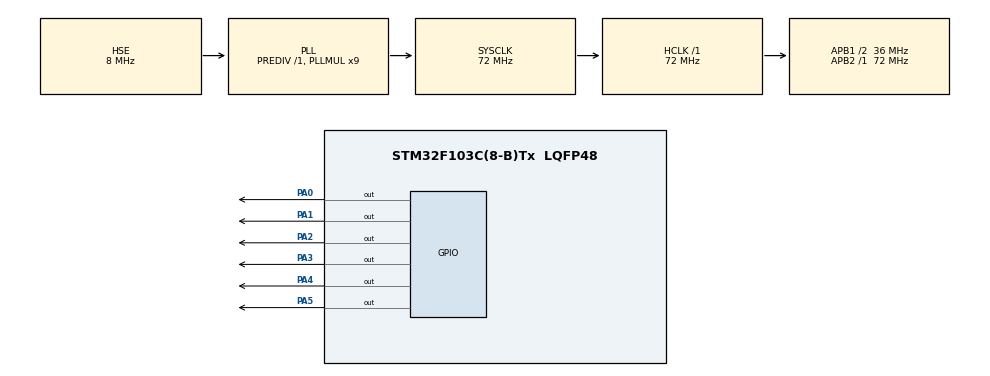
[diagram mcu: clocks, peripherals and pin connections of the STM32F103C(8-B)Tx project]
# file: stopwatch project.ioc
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Mcu.Family=STM32F1
Mcu.Name=STM32F103C(8-B)Tx
Mcu.Package=LQFP48
NVIC.PriorityGroup=NVIC_PRIORITYGROUP_4
PA0-WKUP.Signal=GPIO_Output
PA1.Signal=GPIO_Output
PA13.Mode=Serial_Wire
PA13.Signal=SYS_JTMS-SWDIO
PA14.Mode=Serial_Wire
PA14.Signal=SYS_JTCK-SWCLK
PA2.Signal=GPIO_Output
PA3.Signal=GPIO_Output
PA4.Signal=GPIO_Output
PA5.Signal=GPIO_Output
PD0-OSC_IN.Mode=HSE-External-Oscillator
PD0-OSC_IN.Signal=RCC_OSC_IN
PD1-OSC_OUT.Mode=HSE-External-Oscillator
PD1-OSC_OUT.Signal=RCC_OSC_OUT
ProjectManager.HeapSize=0x200
ProjectManager.StackSize=0x400
ProjectManager.TargetToolchain=STM32CubeIDE
RCC.AHBFreq_Value=72000000
RCC.APB1CLKDivider=RCC_HCLK_DIV2
RCC.APB1Freq_Value=36000000
RCC.APB1TimFreq_Value=72000000
RCC.APB2Freq_Value=72000000
RCC.APB2TimFreq_Value=72000000
RCC.HCLKFreq_Value=72000000
RCC.PLLMUL=RCC_PLL_MUL9
RCC.PLLSourceVirtual=RCC_PLLSOURCE_HSE
RCC.SYSCLKFreq_VALUE=72000000
RCC.SYSCLKSource=RCC_SYSCLKSOURCE_PLLCLK
RCC.USBFreq_Value=72000000
board=custom

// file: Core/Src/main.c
/* USER CODE BEGIN Header */
/**
 ******************************************************************************
 * @file           : main.c
 * @brief          : Main program body
 ******************************************************************************
 * @attention
 *
 * Copyright (c) 2024 STMicroelectronics.
 * All rights reserved.
 *
 * This software is licensed under terms that can be found in the LICENSE file
 * in the root directory of this software component.
 * If no LICENSE file comes with this software, it is provided AS-IS.
 *
 ******************************************************************************
 */
/* USER CODE END Header */
#include "main.h"

/* USER CODE BEGIN PV */
Keypad_Matrix_t matrix1 = { .Row_Port = GPIOB, .Row_Start_Pin = 12,
		.Column_Port =
		GPIOB, .Column_Start_Pin = 6, .Rows = 4, .Columns = 4 };
Alcd_t lcd1 = { .Data_GPIO = GPIOA, .Data_GPIO_Start_Pin = 0, .RS_GPIO = GPIOA,
		.RS_GPIO_Pin = GPIO_PIN_4, .EN_GPIO = GPIOA, .EN_GPIO_Pin = GPIO_PIN_5 };
char str[16];
uint8_t HH = 0;
uint8_t MM = 0;
uint8_t SS = 0;
uint8_t MS = 0;
uint8_t x;
/* USER CODE END PV */

void SystemClock_Config(void);
static void MX_GPIO_Init(void);

int main(void) {

	/* MCU Configuration--------------------------------------------------------*/

	/* Reset of all peripherals, Initializes the Flash interface and the Systick. */
	HAL_Init();

	/* Configure the system clock */
	SystemClock_Config();

	/* Initialize all configured peripherals */
	MX_GPIO_Init();

	/* USER CODE BEGIN 2 */
	__HAL_RCC_GPIOA_CLK_ENABLE();
	__HAL_RCC_GPIOB_CLK_ENABLE();
	Alcd_Init(&lcd1, 2, 16);
	Keypad_Matrix_init(&matrix1);
	/* USER CODE END 2 */

	/* Infinite loop */
	while (1) {
		HAL_Delay(100);
		Keypad_Matrix_Refresh(&matrix1);
		uint8_t length = sprintf(str, "%02d:%02d:%02d:%02d", HH, MM, SS, MS);
		Alcd_PutAt_n(&lcd1, 0, 0, str, length);
		if (Keypad_Matrix_ReadKey(&matrix1, 0)) {
			x = 0;
			while (x == 0) {
				MS += 100;
				if (MS == 10) {
					SS++;
					MS = 0;
				} else if (SS ==59 && MS == 10) {
					MM++;
					SS = 0;
					MS = 0;
				} else if (MM == 59 && SS == 59 && MS == 10) {
					HH++;
					MM = 0;
					SS = 0;
					MS = 0;
				} else if (HH == 23 && MM == 59 && SS == 59 && MS == 10) {
					HH = 0;
					MM = 0;
					SS = 0;
					MS = 0;
				} else if (Keypad_Matrix_ReadKey(&matrix1, 1)) {
					x = 1;
					break;
				} else if (Keypad_Matrix_ReadKey(&matrix1, 2)) {
					x = 2;
					break;
				}
			}
		} else if (x == 1) {
			length = sprintf(str, "%02d:%02d:%02d:%02d", HH, MM, SS, MS);
			Alcd_PutAt_n(&lcd1, 0, 0, str, length);
		} else if (x == 2) {
			HH = 0;
			MM = 0;
			SS = 0;
			MS = 0;
			length = sprintf(str, "%02d:%02d:%02d:%02d", HH, MM, SS, MS);
			Alcd_PutAt_n(&lcd1, 0, 0, str, length);
		}
	}
}

void SystemClock_Config(void) {
	RCC_OscInitTypeDef RCC_OscInitStruct = { 0 };
	RCC_ClkInitTypeDef RCC_ClkInitStruct = { 0 };

	/** Initializes the RCC Oscillators according to the specified parameters
	 * in the RCC_OscInitTypeDef structure.
	 */
	RCC_OscInitStruct.OscillatorType = RCC_OSCILLATORTYPE_HSE;
	RCC_OscInitStruct.HSEState = RCC_HSE_ON;
	RCC_OscInitStruct.HSEPredivValue = RCC_HSE_PREDIV_DIV1;
	RCC_OscInitStruct.HSIState = RCC_HSI_ON;
	RCC_OscInitStruct.PLL.PLLState = RCC_PLL_ON;
	RCC_OscInitStruct.PLL.PLLSource = RCC_PLLSOURCE_HSE;
	RCC_OscInitStruct.PLL.PLLMUL = RCC_PLL_MUL9;
	if (HAL_RCC_OscConfig(&RCC_OscInitStruct) != HAL_OK) {
		Error_Handler();
	}

	/** Initializes the CPU, AHB and APB buses clocks
	 */
	RCC_ClkInitStruct.ClockType = RCC_CLOCKTYPE_HCLK | RCC_CLOCKTYPE_SYSCLK
			| RCC_CLOCKTYPE_PCLK1 | RCC_CLOCKTYPE_PCLK2;
	RCC_ClkInitStruct.SYSCLKSource = RCC_SYSCLKSOURCE_PLLCLK;
	RCC_ClkInitStruct.AHBCLKDivider = RCC_SYSCLK_DIV1;
	RCC_ClkInitStruct.APB1CLKDivider = RCC_HCLK_DIV2;
	RCC_ClkInitStruct.APB2CLKDivider = RCC_HCLK_DIV1;

	if (HAL_RCC_ClockConfig(&RCC_ClkInitStruct, FLASH_LATENCY_2) != HAL_OK) {
		Error_Handler();
	}
}

static void MX_GPIO_Init(void) {

	/* GPIO Ports Clock Enable */
	__HAL_RCC_GPIOD_CLK_ENABLE();
	__HAL_RCC_GPIOA_CLK_ENABLE();

}

void Error_Handler(void) {
	__disable_irq();
	while (1) {
	}
}
